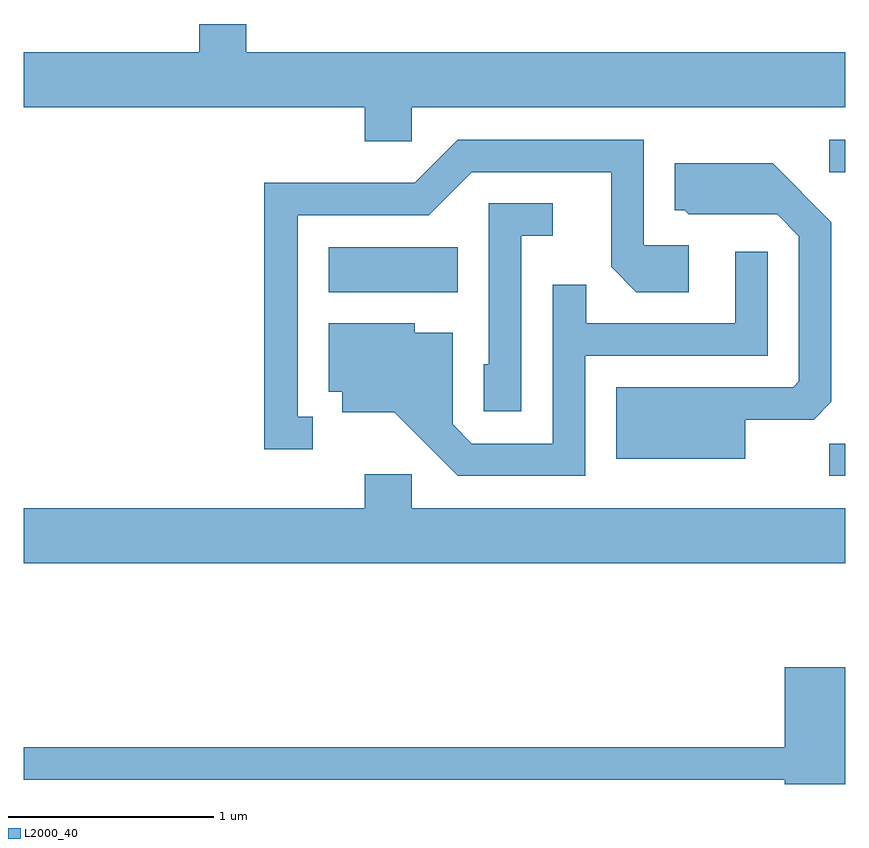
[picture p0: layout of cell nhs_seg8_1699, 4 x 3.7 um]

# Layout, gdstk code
import gdstk
lib = gdstk.Library(unit=1e-6, precision=1e-09)
def R(c, l, rs):  # rectangles x0, y0, x1, y1
    for r in rs: c.add(gdstk.rectangle(r[:2], r[2:], *l))
def P(c, l, *ps):  # polygons
    for p in ps: c.add(gdstk.Polygon(p, *l))
L2000_40 = (2000, 40)

nhs_seg8_1699 = lib.new_cell('nhs_seg8_1699')
R(nhs_seg8_1699, L2000_40, [(239.533,1870.141,239.611,1870.299), (237.096,1871.036,237.724,1871.254), (239.533,1871.621,239.611,1871.779)])
P(nhs_seg8_1699, L2000_40, [(237.499,1871.936),(239.611,1871.936),(239.611,1872.204),(236.694,1872.204),(236.694,1872.342),(236.466,1872.342),(236.466,1872.204),(235.611,1872.204),(235.611,1871.936),(237.271,1871.936),(237.271,1871.771),(237.499,1871.771)],
  [(237.018,1870.429),(236.944,1870.429),(236.944,1871.411),(237.582,1871.411),(237.792,1871.621),(238.471,1871.621),(238.471,1871.159),(238.594,1871.036),(238.849,1871.036),(238.849,1871.264),(238.629,1871.264),(238.629,1871.779),(237.724,1871.779),(237.514,1871.569),(236.781,1871.569),(236.781,1870.271),(237.018,1870.271)],
  [(239.124,1870.416),(239.459,1870.416),(239.544,1870.502),(239.544,1871.377),(239.257,1871.664),(238.781,1871.664),(238.781,1871.436),(238.829,1871.436),(238.849,1871.416),(239.279,1871.416),(239.386,1871.309),(239.386,1870.602),(239.359,1870.574),(238.496,1870.574),(238.496,1870.226),(239.124,1870.226)],
  [(238.034,1871.311),(238.188,1871.311),(238.188,1871.469),(237.876,1871.469),(237.876,1870.684),(237.851,1870.684),(237.851,1870.456),(238.034,1870.456)],
  [(238.344,1870.726),(239.234,1870.726),(239.234,1871.233),(239.076,1871.233),(239.076,1870.884),(238.349,1870.884),(238.349,1871.073),(238.186,1871.073),(238.186,1870.299),(237.792,1870.299),(237.699,1870.392),(237.699,1870.839),(237.514,1870.839),(237.514,1870.884),(237.096,1870.884),(237.096,1870.551),(237.161,1870.551),(237.161,1870.451),(237.414,1870.451),(237.724,1870.141),(238.344,1870.141)],
  [(239.611,1869.984),(237.499,1869.984),(237.499,1870.149),(237.271,1870.149),(237.271,1869.984),(235.611,1869.984),(235.611,1869.716),(239.611,1869.716)],
  [(239.611,1869.209),(239.316,1869.209),(239.316,1868.819),(235.611,1868.819),(235.611,1868.661),(239.316,1868.661),(239.316,1868.641),(239.611,1868.641)])

lib.write_gds('nhs_seg8_1699.gds')
